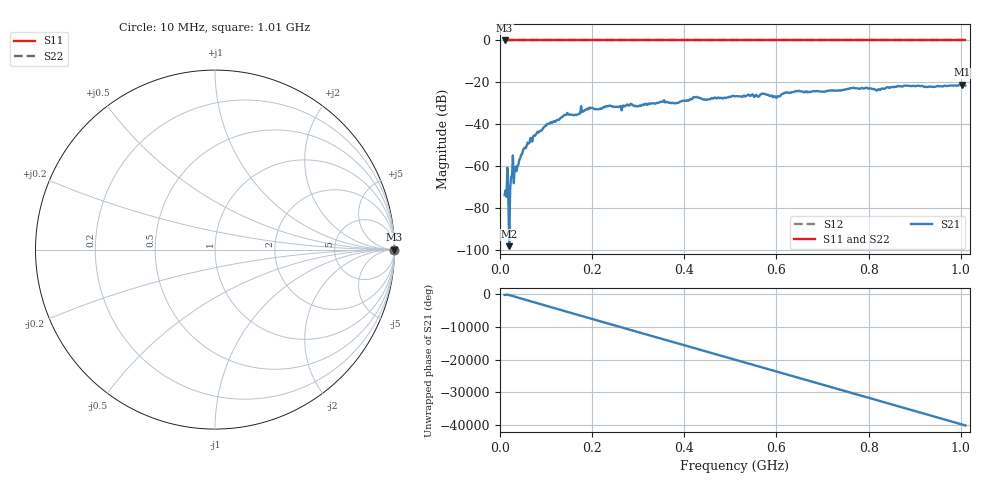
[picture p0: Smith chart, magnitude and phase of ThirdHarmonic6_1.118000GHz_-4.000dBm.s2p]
! 8/16/2025 10:43:01 AM
! C:\ANRITSUVNA\TEMP\TEMP.S2P
! CHANNEL.1
! TR.MEASUREMENT
! RAW.DATA
! RF.CORRECTION.OFF
! AVERAGING.OFF
! IF.BANDWIDTH: 5KHZ
! SWEEPTYPE:  FREQ.SWEEP(Linear)
! Reference Plane Port Info
! PORT:  PORT1  PORT2
! DISTANCE:  0  m  0  m
! TIME:  0  s  0  s
! PHASE.OFFSET:  0  deg.  0  deg.
! LOSS:  0  dB  0  dB
! REF.LOSS:  0  dB  0  dB
! REF.FREQ:  0  Hz  0  Hz
! Power Info
! POWER:  -20  dBm  -20  dBm
! EFF.POWER:  -20  dBm  -20  dBm
! SOURCE.ATTEN:  0  dB  0  dB
! TEST.ATTEN:  0  dB  0  dB
# GHZ S RI R 50.0
! FREQ.GHZ  S11RE  S11IM  S21RE  S21IM  S12RE  S12IM  S22RE  S22IM
!; PortSelection: Port_12
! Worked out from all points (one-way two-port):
!   501 points, 10 MHz to 1.01 GHz, reference 50 ohm
!   highest |S21| = -21.04 dB at 1.002 GHz (marker M1); lowest = -98.1 dB at 20 MHz (marker M2)
!   lowest |S11| = 0.0 dB at 10 MHz (marker M3)
!   |S11| at or under -10 dB: nowhere
!   |S22| runs from 0.0 to 0.0 dB; largest |S21 - S12| = 1.1
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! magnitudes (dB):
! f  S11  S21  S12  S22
! 10 MHz  0.0  -73.8  0.0  0.0
! 12 MHz  0.0  -71.5  0.0  0.0
! 18 MHz  0.0  -73.6  0.0  0.0
! 20 MHz  0.0  -98.1  0.0  0.0
! 22 MHz  0.0  -71.2  0.0  0.0
! 28 MHz  0.0  -54.8  0.0  0.0
! 32 MHz  0.0  -60.6  0.0  0.0
! 34 MHz  0.0  -60.2  0.0  0.0
! 50 MHz  0.0  -52.3  0.0  0.0
! 76 MHz  0.0  -45.4  0.0  0.0
! 142 MHz  0.0  -35.6  0.0  0.0
! 164 MHz  0.0  -35.4  0.0  0.0
! 178 MHz  0.0  -34.2  0.0  0.0
! 344 MHz  0.0  -29.8  0.0  0.0
! 510 MHz  0.0  -26.6  0.0  0.0
! 572 MHz  0.0  -25.4  0.0  0.0
! 596 MHz  0.0  -26.5  0.0  0.0
! 644 MHz  0.0  -24.2  0.0  0.0
! 678 MHz  0.0  -24.3  0.0  0.0
! 844 MHz  0.0  -22.5  0.0  0.0
! 1.002 GHz  0.0  -21.0  0.0  0.0
! 1.01 GHz  0.0  -21.5  0.0  0.0
